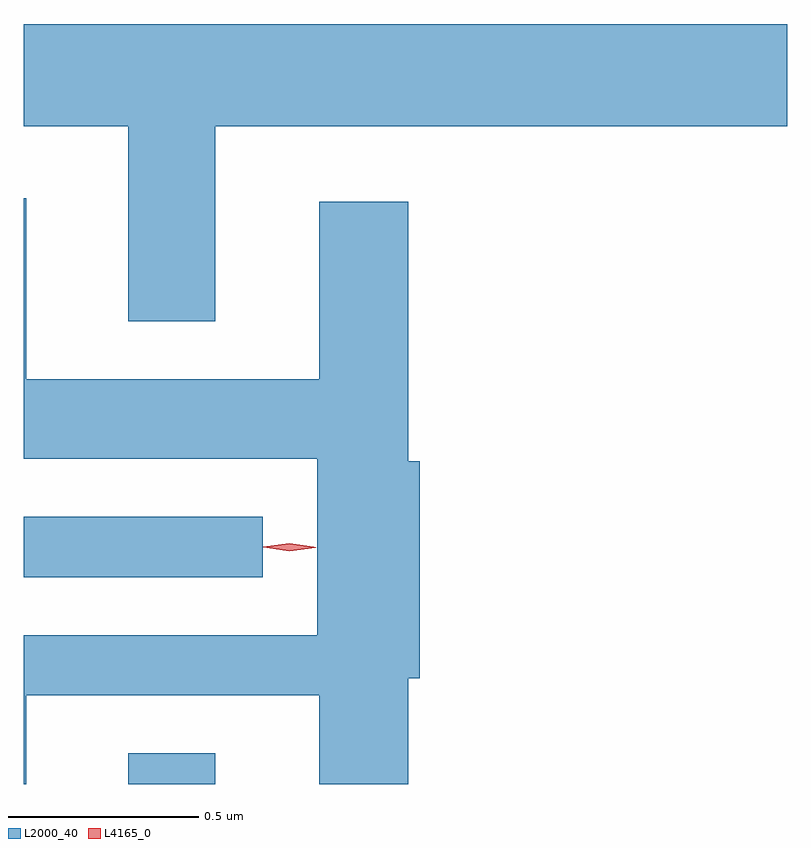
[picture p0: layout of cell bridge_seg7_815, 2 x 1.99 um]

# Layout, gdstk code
import gdstk
lib = gdstk.Library(unit=1e-6, precision=1e-09)
def R(c, l, rs):  # rectangles x0, y0, x1, y1
    for r in rs: c.add(gdstk.rectangle(r[:2], r[2:], *l))
def P(c, l, *ps):  # polygons
    for p in ps: c.add(gdstk.Polygon(p, *l))
L2000_40 = (2000, 40)
L4165_0 = (4165, 0)

bridge_seg7_815 = lib.new_cell('bridge_seg7_815')
R(bridge_seg7_815, L2000_40, [(265.821,1801.394,266.049,1801.474), (265.547,1801.936,266.173,1802.094)])
P(bridge_seg7_815, L2000_40, [(266.049,1803.116),(267.547,1803.116),(267.547,1803.384),(265.547,1803.384),(265.547,1803.116),(265.821,1803.116),(265.821,1802.606),(266.049,1802.606)],
  [(265.554,1801.626),(266.321,1801.626),(266.321,1801.394),(266.554,1801.394),(266.554,1801.671),(266.584,1801.671),(266.584,1802.239),(266.554,1802.239),(266.554,1802.919),(266.321,1802.919),(266.321,1802.454),(265.554,1802.454),(265.554,1802.928),(265.547,1802.928),(265.547,1802.246),(266.316,1802.246),(266.316,1801.784),(265.547,1801.784),(265.547,1801.394),(265.554,1801.394)])
P(bridge_seg7_815, L4165_0, [(266.243,1802.004),(266.174,1802.014),(266.174,1802.014),(266.174,1802.015),(266.243,1802.024),(266.312,1802.014),(266.312,1802.014),(266.312,1802.013)],
  [(266.242,1802.005),(266.178,1802.014),(266.177,1802.015),(266.178,1802.015),(266.242,1802.025),(266.307,1802.015),(266.307,1802.015),(266.307,1802.014)])

lib.write_gds('bridge_seg7_815.gds')
